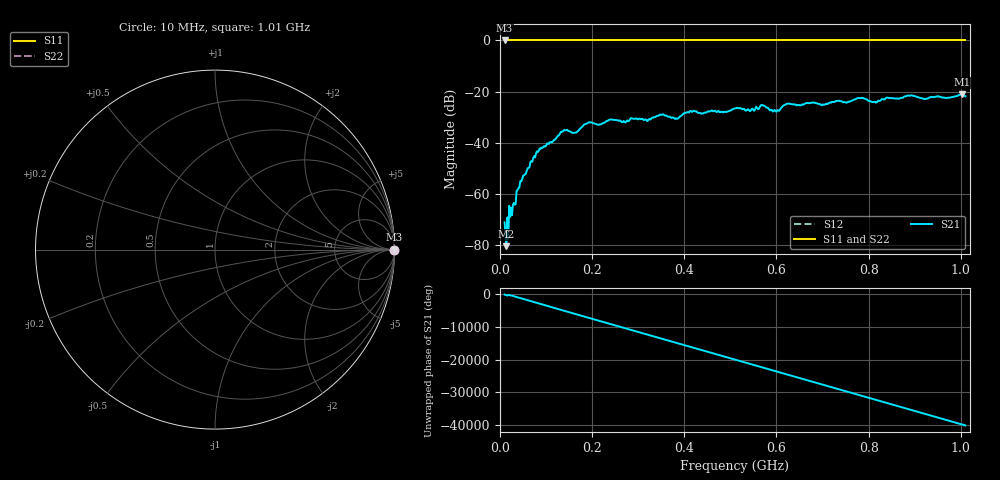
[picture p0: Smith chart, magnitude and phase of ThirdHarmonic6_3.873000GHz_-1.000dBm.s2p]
! 8/17/2025 1:33:50 PM
! C:\ANRITSUVNA\TEMP\TEMP.S2P
! CHANNEL.1
! TR.MEASUREMENT
! RAW.DATA
! RF.CORRECTION.OFF
! AVERAGING.OFF
! IF.BANDWIDTH: 5KHZ
! SWEEPTYPE:  FREQ.SWEEP(Linear)
! Reference Plane Port Info
! PORT:  PORT1  PORT2
! DISTANCE:  0  m  0  m
! TIME:  0  s  0  s
! PHASE.OFFSET:  0  deg.  0  deg.
! LOSS:  0  dB  0  dB
! REF.LOSS:  0  dB  0  dB
! REF.FREQ:  0  Hz  0  Hz
! Power Info
! POWER:  -20  dBm  -20  dBm
! EFF.POWER:  -20  dBm  -20  dBm
! SOURCE.ATTEN:  0  dB  0  dB
! TEST.ATTEN:  0  dB  0  dB
# GHZ S RI R 50.0
! FREQ.GHZ  S11RE  S11IM  S21RE  S21IM  S12RE  S12IM  S22RE  S22IM
!; PortSelection: Port_12
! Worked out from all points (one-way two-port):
!   501 points, 10 MHz to 1.01 GHz, reference 50 ohm
!   highest |S21| = -21.16 dB at 1.002 GHz (marker M1); lowest = -80.6 dB at 14 MHz (marker M2)
!   lowest |S11| = 0.0 dB at 10 MHz (marker M3)
!   |S11| at or under -10 dB: nowhere
!   |S22| runs from 0.0 to 0.0 dB; largest |S21 - S12| = 1.1
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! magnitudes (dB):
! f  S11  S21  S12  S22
! 10 MHz  0.0  -71.3  0.0  0.0
! 14 MHz  0.0  -80.6  0.0  0.0
! 24 MHz  0.0  -65.6  0.0  0.0
! 30 MHz  0.0  -63.7  0.0  0.0
! 40 MHz  0.0  -57.9  0.0  0.0
! 82 MHz  0.0  -43.7  0.0  0.0
! 136 MHz  0.0  -35.6  0.0  0.0
! 162 MHz  0.0  -36.1  0.0  0.0
! 178 MHz  0.0  -33.9  0.0  0.0
! 344 MHz  0.0  -29.6  0.0  0.0
! 382 MHz  0.0  -30.5  0.0  0.0
! 416 MHz  0.0  -28.0  0.0  0.0
! 510 MHz  0.0  -26.6  0.0  0.0
! 548 MHz  0.0  -26.7  0.0  0.0
! 570 MHz  0.0  -25.4  0.0  0.0
! 602 MHz  0.0  -27.3  0.0  0.0
! 624 MHz  0.0  -24.8  0.0  0.0
! 678 MHz  0.0  -24.3  0.0  0.0
! 814 MHz  0.0  -24.0  0.0  0.0
! 844 MHz  0.0  -22.5  0.0  0.0
! 1.002 GHz  0.0  -21.2  0.0  0.0
! 1.01 GHz  0.0  -21.9  0.0  0.0
